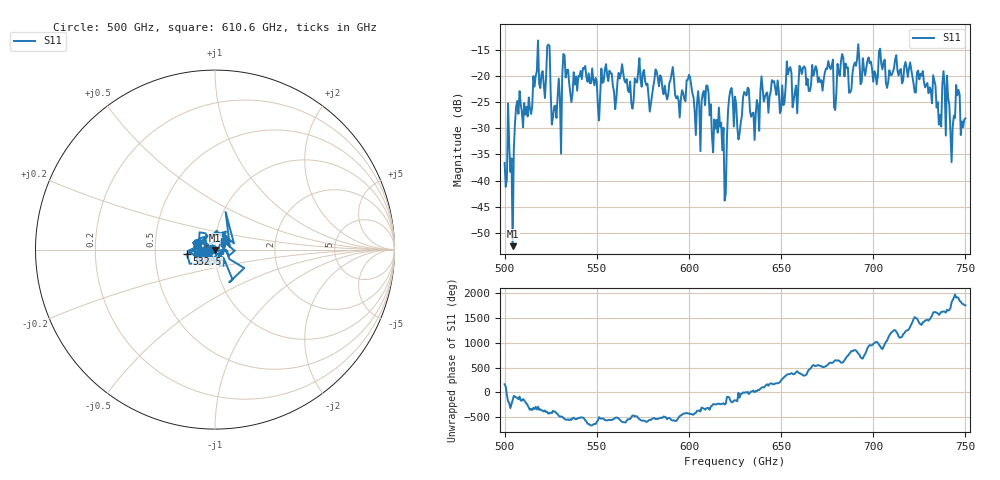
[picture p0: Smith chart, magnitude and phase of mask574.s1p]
!Created with skrf (http://scikit-rf.org).
# GHz S MA R 50.0
!freq magS11 angS11
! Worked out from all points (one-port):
!   401 points, 500 GHz to 750 GHz, reference 50 ohm
!   lowest |S11| = -52.5 dB at 504.4 GHz (marker M1), VSWR 1.00, Z = 49.8 - j0.137 ohm
!   |S11| at or under -10 dB: start of sweep to end of sweep
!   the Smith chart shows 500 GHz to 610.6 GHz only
!   S11 on the Smith chart (normalised r, x): 500 GHz: 0.97, +0.01; 532.5 GHz: 0.73, -0.04; 610.6 GHz: 1.10, +0.11
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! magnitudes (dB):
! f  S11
! 500 GHz  -36.6
! 504.4 GHz  -52.5
! 506.9 GHz  -24.8
! 513.8 GHz  -26.3
! 516.9 GHz  -20.0
! 523.8 GHz  -14.0
! 526.9 GHz  -25.9
! 531.2 GHz  -20.1
! 532.5 GHz  -16.1
! 550.6 GHz  -25.9
! 562.5 GHz  -20.5
! 579.4 GHz  -25.3
! 590.6 GHz  -19.6
! 593.8 GHz  -23.9
! 610.6 GHz  -23.2
! 619.4 GHz  -43.8
! 622.5 GHz  -22.8
! 625 GHz  -24.0
! 656.2 GHz  -26.0
! 683.8 GHz  -16.5
! 687.5 GHz  -23.2
! 691.2 GHz  -16.8
! 718.8 GHz  -20.2
! 735.6 GHz  -29.3
! 738.8 GHz  -22.0
! 743.1 GHz  -29.7
! 745.6 GHz  -23.7
! 750 GHz  -28.1
